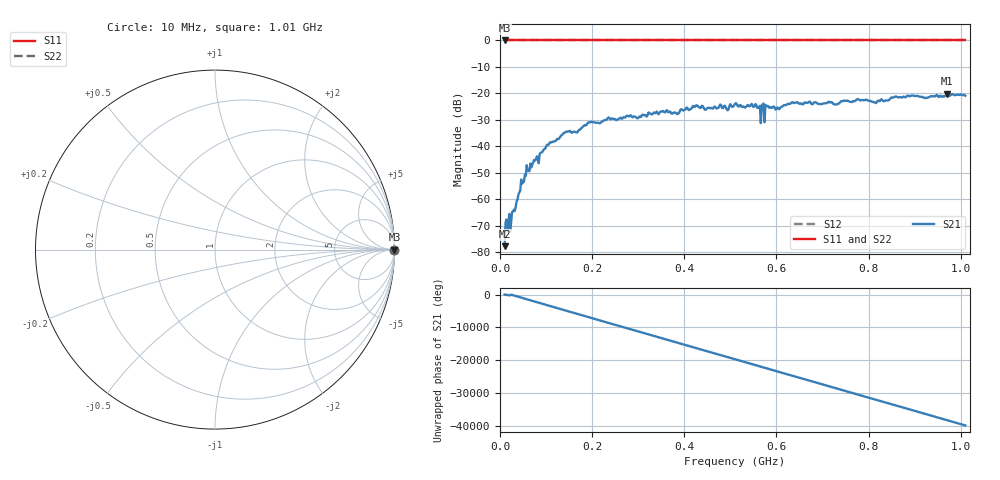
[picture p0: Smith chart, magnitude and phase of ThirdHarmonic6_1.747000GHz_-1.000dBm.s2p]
! 8/16/2025 9:04:20 PM
! C:\ANRITSUVNA\TEMP\TEMP.S2P
! CHANNEL.1
! TR.MEASUREMENT
! RAW.DATA
! RF.CORRECTION.OFF
! AVERAGING.OFF
! IF.BANDWIDTH: 5KHZ
! SWEEPTYPE:  FREQ.SWEEP(Linear)
! Reference Plane Port Info
! PORT:  PORT1  PORT2
! DISTANCE:  0  m  0  m
! TIME:  0  s  0  s
! PHASE.OFFSET:  0  deg.  0  deg.
! LOSS:  0  dB  0  dB
! REF.LOSS:  0  dB  0  dB
! REF.FREQ:  0  Hz  0  Hz
! Power Info
! POWER:  -20  dBm  -20  dBm
! EFF.POWER:  -20  dBm  -20  dBm
! SOURCE.ATTEN:  0  dB  0  dB
! TEST.ATTEN:  0  dB  0  dB
# GHZ S RI R 50.0
! FREQ.GHZ  S11RE  S11IM  S21RE  S21IM  S12RE  S12IM  S22RE  S22IM
!; PortSelection: Port_12
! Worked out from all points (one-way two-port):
!   501 points, 10 MHz to 1.01 GHz, reference 50 ohm
!   highest |S21| = -20.18 dB at 970 MHz (marker M1); lowest = -77.8 dB at 10 MHz (marker M2)
!   lowest |S11| = 0.0 dB at 10 MHz (marker M3)
!   |S11| at or under -10 dB: nowhere
!   |S22| runs from 0.0 to 0.0 dB; largest |S21 - S12| = 1.1
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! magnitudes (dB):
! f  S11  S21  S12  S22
! 10 MHz  0.0  -77.8  0.0  0.0
! 16 MHz  0.0  -69.8  0.0  0.0
! 20 MHz  0.0  -65.6  0.0  0.0
! 44 MHz  0.0  -56.7  0.0  0.0
! 62 MHz  0.0  -49.4  0.0  0.0
! 106 MHz  0.0  -39.2  0.0  0.0
! 142 MHz  0.0  -34.7  0.0  0.0
! 178 MHz  0.0  -32.9  0.0  0.0
! 234 MHz  0.0  -29.3  0.0  0.0
! 344 MHz  0.0  -27.9  0.0  0.0
! 424 MHz  0.0  -25.0  0.0  0.0
! 494 MHz  0.0  -26.4  0.0  0.0
! 510 MHz  0.0  -24.0  0.0  0.0
! 552 MHz  0.0  -24.9  0.0  0.0
! 570 MHz  0.0  -24.2  0.0  0.0
! 580 MHz  0.0  -24.7  0.0  0.0
! 602 MHz  0.0  -25.3  0.0  0.0
! 636 MHz  0.0  -23.4  0.0  0.0
! 678 MHz  0.0  -24.1  0.0  0.0
! 844 MHz  0.0  -22.6  0.0  0.0
! 970 MHz  0.0  -20.2  0.0  0.0
! 1.01 GHz  0.0  -20.9  0.0  0.0
